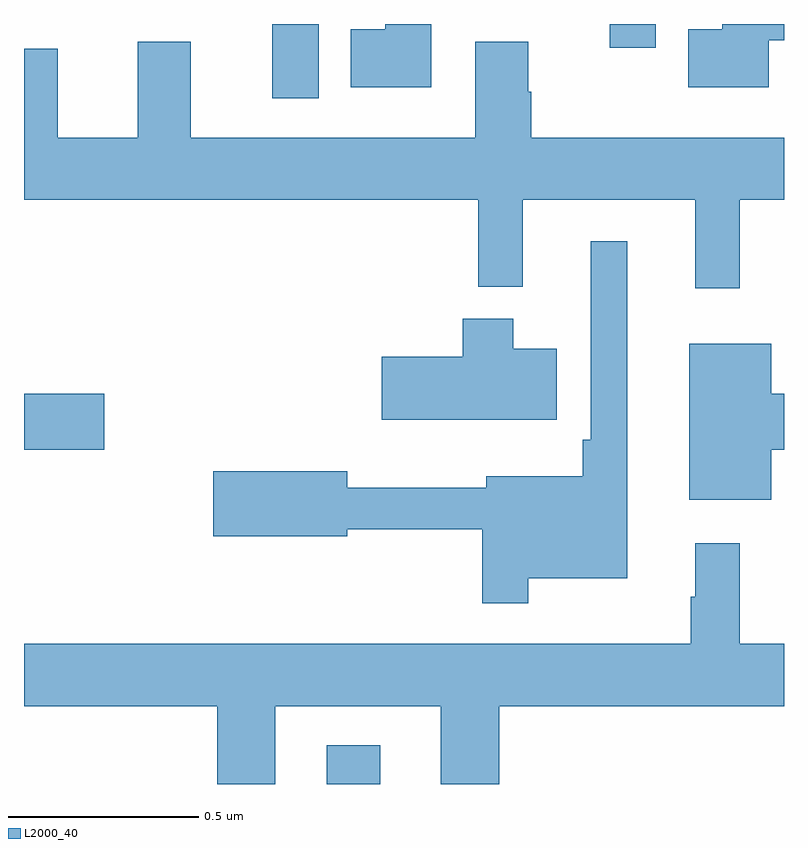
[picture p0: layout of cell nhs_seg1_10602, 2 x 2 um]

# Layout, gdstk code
import gdstk
lib = gdstk.Library(unit=1e-6, precision=1e-09)
def R(c, l, rs):  # rectangles x0, y0, x1, y1
    for r in rs: c.add(gdstk.rectangle(r[:2], r[2:], *l))
def P(c, l, *ps):  # polygons
    for p in ps: c.add(gdstk.Polygon(p, *l))
L2000_40 = (2000, 40)

nhs_seg1_10602 = lib.new_cell('nhs_seg1_10602')
R(nhs_seg1_10602, L2000_40, [(243.797,546.199,243.937,546.301), (243,547.079,243.211,547.226), (243.653,548.004,243.775,548.199), (244.541,548.136,244.663,548.199)])
P(nhs_seg1_10602, L2000_40, [(244.072,548.199),(243.95,548.199),(243.95,548.185),(243.86,548.185),(243.86,548.033),(244.072,548.033)],
  [(244.96,548.156),(245,548.156),(245,548.199),(244.838,548.199),(244.838,548.185),(244.748,548.185),(244.748,548.033),(244.96,548.033)],
  [(244.883,547.736),(245,547.736),(245,547.9),(244.335,547.9),(244.335,548.021),(244.327,548.021),(244.327,548.152),(244.187,548.152),(244.187,547.9),(243.439,547.9),(243.439,548.152),(243.299,548.152),(243.299,547.9),(243.089,547.9),(243.089,548.134),(243,548.134),(243,547.736),(244.195,547.736),(244.195,547.508),(244.313,547.508),(244.313,547.736),(244.766,547.736),(244.766,547.503),(244.883,547.503)],
  [(244.327,546.74),(244.588,546.74),(244.588,547.627),(244.491,547.627),(244.491,547.105),(244.471,547.105),(244.471,547.009),(244.217,547.009),(244.217,546.979),(243.85,546.979),(243.85,547.022),(243.498,547.022),(243.498,546.851),(243.85,546.851),(243.85,546.87),(244.206,546.87),(244.206,546.675),(244.327,546.675)],
  [(244.402,547.345),(244.288,547.345),(244.288,547.423),(244.154,547.423),(244.154,547.323),(243.942,547.323),(243.942,547.157),(244.402,547.157)],
  [(244.966,547.079),(245,547.079),(245,547.226),(244.966,547.226),(244.966,547.357),(244.751,547.357),(244.751,546.947),(244.966,546.947)],
  [(243.661,546.404),(244.097,546.404),(244.097,546.199),(244.25,546.199),(244.25,546.404),(245,546.404),(245,546.568),(244.883,546.568),(244.883,546.832),(244.766,546.832),(244.766,546.692),(244.755,546.692),(244.755,546.568),(243,546.568),(243,546.404),(243.509,546.404),(243.509,546.199),(243.661,546.199)])

lib.write_gds('nhs_seg1_10602.gds')
